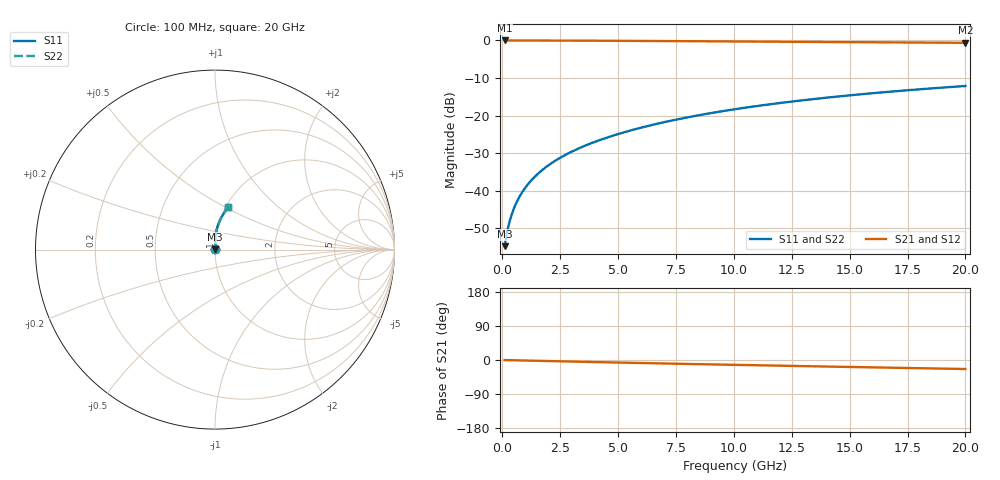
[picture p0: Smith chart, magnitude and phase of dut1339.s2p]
! Touchstone file exported from HFSS 2024.1.0
!  File:  C:/UserFiles/LocalFiles/RDL_TSV_Batchsim/temp_RDL_top_1339_1780365760.aedt
!  Generated:  10:05:10 AM Jun  2, 2026
!  Design:  RDL_top
!  Project:  temp_RDL_top_1339_1780365760
!  Setup:  Setup1
!  Solution:  Sweep
! Variables:
!  dtsv = 10.80580581um
!  hbump = 3um
!  htsv = 84.77um
!  ldown = 100um
!  lrdl = 301.14um
!  p = 40
!  p1 = 54.66um
!  rhole = 1um
!  t = 450um
!  tdown = 3.915915916um
!  trdl = 3.8um
!  wdown = 15.38538539um
!  wrdl = 23.72um
# GHz S MA R 50.000000
! Terminal data exported
! Port[1] = Box2_T1
! Port[2] = Box2_T2
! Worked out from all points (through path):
!   200 points, 100 MHz to 20 GHz, reference 50 ohm
!   highest |S21| = -0.01 dB at 100 MHz (marker M1); lowest = -0.6 dB at 20 GHz (marker M2)
!   group delay of S21, straight-line fit = 3.27 ps
!   lowest |S11| = -54.8 dB at 100 MHz (marker M3), VSWR 1.00, Z = 50.1 + j0.118 ohm
!   |S11| at or under -10 dB: start of sweep to end of sweep
!   |S22| runs from -54.8 to -12.1 dB; largest |S21 - S12| = 2e-15
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0.1  0.001825 40.3  0.9986 -0.1  0.9986 -0.1  0.001825 40.3
! Gamma 0 0 0 0
! Port Impedance 50 0 50 0
0.2  0.00274 57.8  0.9985 -0.3  0.9985 -0.3  0.00274 57.8
0.3  0.003739 65.9  0.9984 -0.4  0.9984 -0.4  0.003739 65.9
0.4  0.004755 70.7  0.9983 -0.6  0.9983 -0.6  0.004755 70.7
0.5  0.005779 73.9  0.9982 -0.7  0.9982 -0.7  0.005779 73.9
0.6  0.006813 76.2  0.9982 -0.8  0.9982 -0.8  0.006813 76.2
0.8  0.008903 79.4  0.998 -1.1  0.998 -1.1  0.008903 79.4
1.1  0.01209 82.3  0.9977 -1.5  0.9977 -1.5  0.01208 82.3
1.5  0.01639 84.4  0.9972 -2.1  0.9972 -2.1  0.01639 84.4
1.8  0.01966 85.5  0.9967 -2.5  0.9967 -2.5  0.01966 85.5
2.1  0.02296 86.2  0.9961 -2.9  0.9961 -2.9  0.02296 86.3
2.7  0.02967 87.2  0.9948 -3.7  0.9948 -3.7  0.02967 87.2
3.5  0.03883 87.9  0.9927 -4.8  0.9927 -4.8  0.03883 87.9
4.2  0.04705 88.2  0.9905 -5.7  0.9905 -5.7  0.04705 88.2
5  0.05669 88.2  0.9878 -6.8  0.9878 -6.8  0.05669 88.2
5.9  0.06782 87.9  0.9846 -7.9  0.9846 -7.9  0.06782 87.9
6.8  0.07918 87.4  0.9812 -9.0  0.9812 -9.0  0.07918 87.4
8.4  0.09982 86.1  0.975 -10.9  0.975 -10.9  0.09982 86.1
10.1  0.1221 84.3  0.9684 -12.9  0.9684 -12.9  0.1221 84.3
13.4  0.1652 80.4  0.9555 -16.6  0.9555 -16.6  0.1652 80.4
16.7  0.2072 76.3  0.9426 -20.2  0.9426 -20.2  0.2072 76.3
20  0.2474 72.3  0.9292 -23.8  0.9292 -23.8  0.2474 72.3
